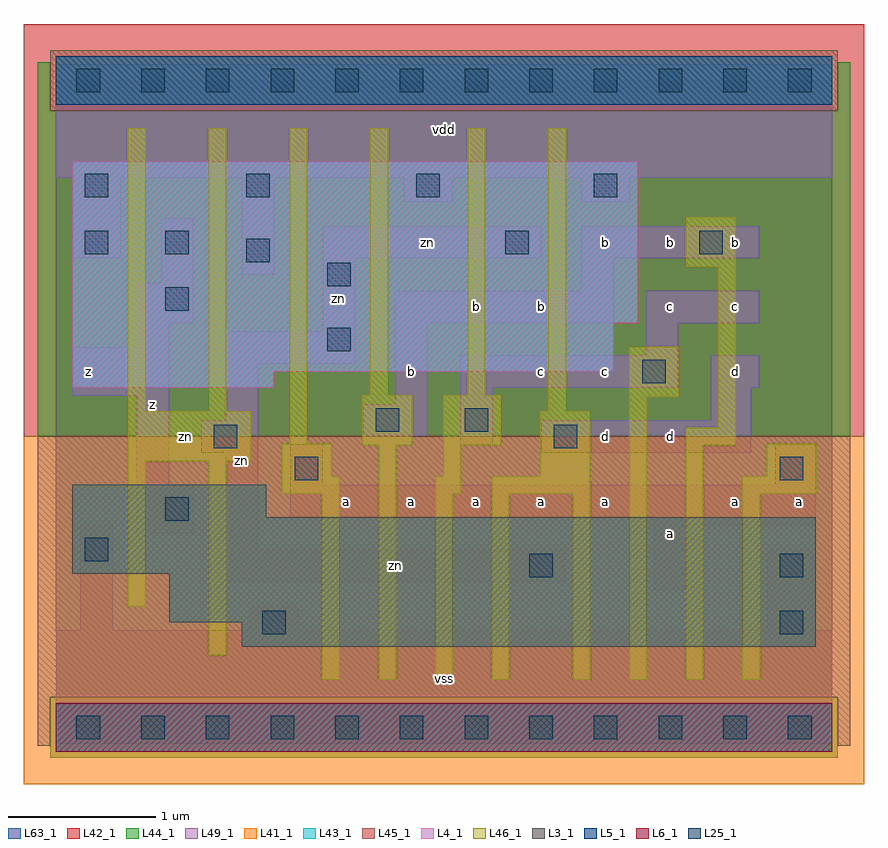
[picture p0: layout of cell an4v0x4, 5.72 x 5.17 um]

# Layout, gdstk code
import gdstk
lib = gdstk.Library(unit=1e-6, precision=1e-09)
def R(c, l, rs):  # rectangles x0, y0, x1, y1
    for r in rs: c.add(gdstk.rectangle(r[:2], r[2:], *l))
def A(c, l, x, y, w, h, nx, ny, dx, dy):  # array of equal rectangles
    R(c, l, [(x+i*dx, y+j*dy, x+i*dx+w, y+j*dy+h) for i in range(nx) for j in range(ny)])
L3_1 = (3, 1)
L4_1 = (4, 1)
L5_1 = (5, 1)
L6_1 = (6, 1)
L25_1 = (25, 1)
L41_1 = (41, 1)
L42_1 = (42, 1)
L43_1 = (43, 1)
L44_1 = (44, 1)
L45_1 = (45, 1)
L46_1 = (46, 1)
L49_1 = (49, 1)
L63_1 = (63, 1)

an4v0x4 = lib.new_cell('an4v0x4')
R(an4v0x4, L3_1, [(1.265,0.55,5.17,0.715), (0.77,0.715,5.17,1.045), (0.11,1.045,5.17,1.43), (0.11,1.43,1.43,1.65)])
R(an4v0x4, L4_1, [(0.11,2.31,1.485,2.42), (0.11,2.42,3.795,2.75), (0.11,2.75,3.96,3.85)])
R(an4v0x4, L5_1, [(0,4.235,5.28,4.565)])
R(an4v0x4, L6_1, [(0,-0.165,5.28,0.165)])
A(an4v0x4, L25_1, 0.14, -0.08, 0.16, 0.16, 12, 2, 0.44, 4.4)
R(an4v0x4, L25_1, [(1.405,0.635,1.565,0.795), (4.925,0.635,5.085,0.795), (3.22,1.02,3.38,1.18), (4.925,1.02,5.085,1.18), (0.195,1.13,0.355,1.29), (0.745,1.405,0.905,1.565), (1.625,1.68,1.785,1.84), (4.925,1.68,5.085,1.84), (1.075,1.9,1.235,2.06), (3.385,1.9,3.545,2.06), (2.175,2.01,2.335,2.17), (2.78,2.01,2.94,2.17), (3.99,2.34,4.15,2.5), (1.845,2.56,2.005,2.72), (0.745,2.835,0.905,2.995), (1.845,3,2.005,3.16), (1.295,3.165,1.455,3.325), (0.195,3.22,0.355,3.38), (0.745,3.22,0.905,3.38), (3.055,3.22,3.215,3.38), (4.375,3.22,4.535,3.38), (0.195,3.605,0.355,3.765), (1.295,3.605,1.455,3.765), (2.45,3.605,2.61,3.765), (3.66,3.605,3.82,3.765)])
R(an4v0x4, L41_1, [(-0.22,-0.385,5.5,1.98)])
R(an4v0x4, L42_1, [(-0.22,1.98,5.5,4.785)])
R(an4v0x4, L43_1, [(0,-0.165,5.28,0.165), (1.265,0.55,5.17,0.715), (0.77,0.715,5.17,1.045), (0.11,1.045,5.17,1.43), (0.11,1.43,1.43,1.65), (0.11,2.31,1.485,2.42), (0.11,2.42,3.795,2.75), (0.11,2.75,3.96,3.85), (0,4.235,5.28,4.565)])
R(an4v0x4, L44_1, [(-0.04,-0.205,5.32,0.205), (-0.125,1.98,5.405,4.195), (-0.125,4.195,-0.04,4.525), (5.32,4.195,5.405,4.525)])
R(an4v0x4, L45_1, [(-0.125,-0.125,-0.04,0.205), (5.32,-0.125,5.405,0.205), (-0.125,0.205,5.405,1.98), (-0.04,4.195,5.32,4.605)])
R(an4v0x4, L46_1, [(1.81,0.325,1.93,1.59), (2.195,0.325,2.315,1.92), (2.58,0.325,2.7,1.59), (2.965,0.325,3.085,1.59), (3.515,0.325,3.635,1.59), (3.9,0.325,4.02,2.25), (4.285,0.325,4.405,1.92), (4.67,0.325,4.79,1.59), (1.04,0.49,1.16,1.81), (0.49,0.82,0.61,1.81), (1.535,1.59,1.93,1.71), (2.58,1.59,2.755,1.71), (2.965,1.59,3.635,1.71), (4.67,1.59,5.175,1.71), (1.535,1.71,1.875,1.93), (2.635,1.71,2.755,1.92), (3.295,1.71,3.635,2.15), (4.835,1.71,5.175,1.93), (0.49,1.81,1.325,2.15), (2.085,1.92,2.425,2.26), (2.635,1.92,3.03,2.26), (4.285,1.92,4.625,2.04), (1.59,1.93,1.71,4.075), (4.505,2.04,4.625,3.13), (0.49,2.15,0.61,4.075), (1.04,2.15,1.16,4.075), (3.35,2.15,3.47,4.075), (3.9,2.25,4.24,2.59), (2.14,2.26,2.26,4.075), (2.8,2.26,2.92,4.075), (4.285,3.13,4.625,3.47)])
R(an4v0x4, L49_1, [(0,-0.11,5.28,0.66), (0.165,0.66,0.385,1.375), (1.32,0.66,1.65,0.825), (4.84,0.66,5.17,1.21), (4.07,0.935,4.29,1.375), (1.155,0.99,3.465,1.21), (1.155,1.21,1.375,1.87), (0.55,1.32,0.935,1.65), (4.07,1.375,5.17,1.43), (1.595,1.43,5.17,1.65), (0.55,1.65,0.77,2.255), (1.595,1.65,1.815,1.925), (4.895,1.65,5.17,1.925), (0.99,1.87,1.375,2.09), (3.3,1.87,4.73,2.09), (2.75,1.925,2.97,2.31), (2.09,1.98,2.53,2.2), (1.155,2.09,1.375,2.475), (4.455,2.09,4.73,2.31), (2.31,2.2,2.53,2.75), (0.11,2.255,0.77,2.585), (2.75,2.31,4.235,2.53), (4.455,2.31,4.785,2.53), (1.155,2.475,2.035,2.695), (4.015,2.53,4.235,2.75), (0.55,2.585,0.77,2.75), (1.815,2.695,2.035,3.19), (0.55,2.75,0.935,3.025), (2.31,2.75,3.795,2.97), (4.015,2.75,4.785,2.97), (3.575,2.97,3.795,3.19), (0.715,3.025,0.935,3.465), (1.265,3.08,1.485,3.74), (0.11,3.19,0.44,3.74), (1.815,3.19,3.3,3.41), (3.575,3.19,4.785,3.41), (2.365,3.575,2.695,3.74), (3.575,3.575,3.905,3.74), (0,3.74,5.28,4.51)])
R(an4v0x4, L63_1, [(0,0,5.28,4.4)])
an4v0x4.add(gdstk.Label('zn', (0.88,1.98), layer=46, texttype=1))
an4v0x4.add(gdstk.Label('z', (0.66,2.2), layer=49, texttype=1))
an4v0x4.add(gdstk.Label('z', (0.22,2.42), layer=49, texttype=1))
an4v0x4.add(gdstk.Label('zn', (1.925,2.915), layer=49, texttype=1))
an4v0x4.add(gdstk.Label('zn', (1.265,1.815), layer=49, texttype=1))
an4v0x4.add(gdstk.Label('vss', (2.64,0.33), layer=49, texttype=1))
an4v0x4.add(gdstk.Label('a', (1.98,1.54), layer=49, texttype=1))
an4v0x4.add(gdstk.Label('a', (2.42,1.54), layer=49, texttype=1))
an4v0x4.add(gdstk.Label('a', (2.86,1.54), layer=49, texttype=1))
an4v0x4.add(gdstk.Label('b', (2.42,2.42), layer=49, texttype=1))
an4v0x4.add(gdstk.Label('b', (2.86,2.86), layer=49, texttype=1))
an4v0x4.add(gdstk.Label('vdd', (2.64,4.07), layer=49, texttype=1))
an4v0x4.add(gdstk.Label('a', (3.3,1.54), layer=49, texttype=1))
an4v0x4.add(gdstk.Label('zn', (2.31,1.1), layer=49, texttype=1))
an4v0x4.add(gdstk.Label('a', (3.74,1.54), layer=49, texttype=1))
an4v0x4.add(gdstk.Label('a', (4.18,1.32), layer=49, texttype=1))
an4v0x4.add(gdstk.Label('c', (3.3,2.42), layer=49, texttype=1))
an4v0x4.add(gdstk.Label('d', (3.74,1.98), layer=49, texttype=1))
an4v0x4.add(gdstk.Label('c', (3.74,2.42), layer=49, texttype=1))
an4v0x4.add(gdstk.Label('d', (4.18,1.98), layer=49, texttype=1))
an4v0x4.add(gdstk.Label('c', (4.18,2.86), layer=49, texttype=1))
an4v0x4.add(gdstk.Label('b', (3.3,2.86), layer=49, texttype=1))
an4v0x4.add(gdstk.Label('zn', (2.53,3.3), layer=49, texttype=1))
an4v0x4.add(gdstk.Label('b', (3.74,3.3), layer=49, texttype=1))
an4v0x4.add(gdstk.Label('b', (4.18,3.3), layer=49, texttype=1))
an4v0x4.add(gdstk.Label('a', (4.62,1.54), layer=49, texttype=1))
an4v0x4.add(gdstk.Label('a', (5.06,1.54), layer=49, texttype=1))
an4v0x4.add(gdstk.Label('d', (4.62,2.42), layer=49, texttype=1))
an4v0x4.add(gdstk.Label('c', (4.62,2.86), layer=49, texttype=1))
an4v0x4.add(gdstk.Label('b', (4.62,3.3), layer=49, texttype=1))

lib.write_gds('an4v0x4.gds')
